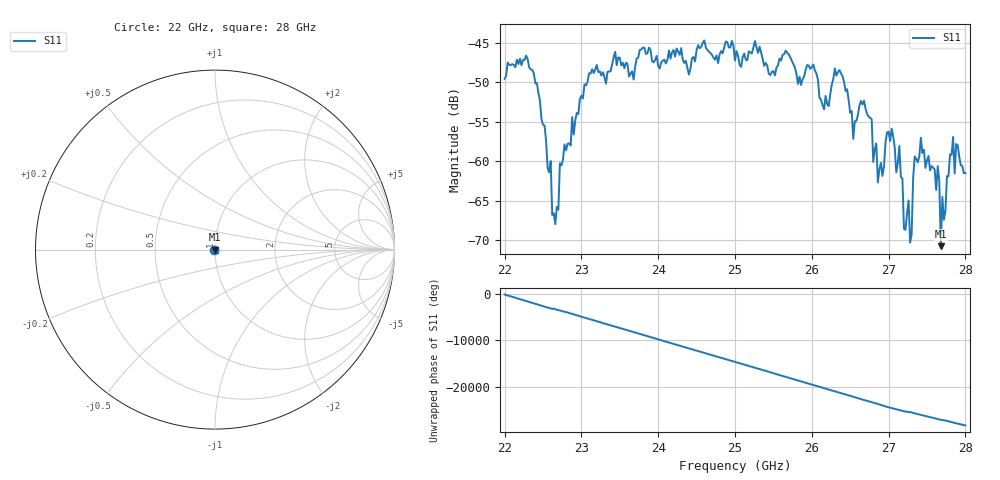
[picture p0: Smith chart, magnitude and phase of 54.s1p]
#  HZ  S  RI  R  50.00
! Rohde & Schwarz ZVA40 4Ports - Version 3.90 - 1145.1110k42 SN: 100403
! Date: 2023-10-04 10:45:31
! Measurement: S12
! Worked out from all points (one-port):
!   301 points, 22 GHz to 28 GHz, reference 50 ohm
!   lowest |S11| = -70.7 dB at 27.68 GHz (marker M1), VSWR 1.00, Z = 50 - j0.0276 ohm
!   |S11| at or under -10 dB: start of sweep to end of sweep
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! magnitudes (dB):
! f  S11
! 22 GHz  -49.5
! 22.38 GHz  -48.8
! 22.66 GHz  -67.9
! 22.76 GHz  -59.8
! 23.1 GHz  -48.8
! 23.5 GHz  -46.9
! 24.26 GHz  -46.1
! 25 GHz  -47.2
! 25.76 GHz  -47.7
! 26.16 GHz  -53.4
! 26.36 GHz  -48.4
! 26.5 GHz  -53.8
! 26.78 GHz  -54.7
! 26.86 GHz  -62.7
! 27.04 GHz  -55.8
! 27.1 GHz  -61.4
! 27.14 GHz  -58.0
! 27.2 GHz  -68.5
! 27.26 GHz  -64.9
! 27.28 GHz  -70.2
! 27.34 GHz  -59.4
! 27.42 GHz  -57.0
! 27.64 GHz  -60.6
! 27.68 GHz  -70.7
! 27.7 GHz  -64.5
! 27.84 GHz  -56.9
! 27.86 GHz  -61.5
! 28 GHz  -61.5
